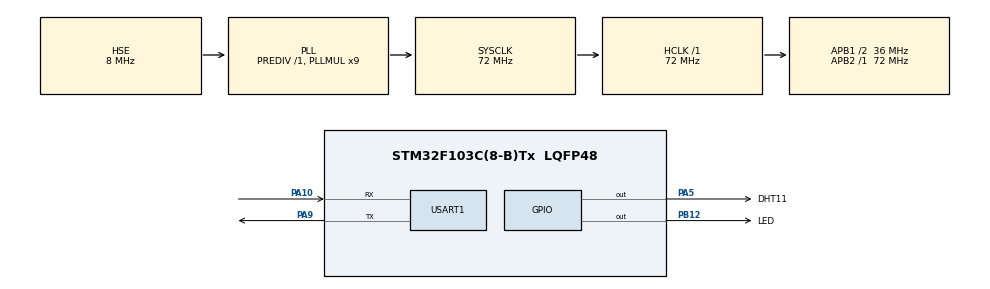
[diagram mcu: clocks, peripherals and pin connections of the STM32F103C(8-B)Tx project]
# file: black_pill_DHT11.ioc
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Mcu.Family=STM32F1
Mcu.Name=STM32F103C(8-B)Tx
Mcu.Package=LQFP48
NVIC.PriorityGroup=NVIC_PRIORITYGROUP_4
PA10.Mode=Asynchronous
PA10.Signal=USART1_RX
PA13.Mode=Serial_Wire
PA13.Signal=SYS_JTMS-SWDIO
PA14.Mode=Serial_Wire
PA14.Signal=SYS_JTCK-SWCLK
PA5.GPIO_Label=DHT11
PA5.Signal=GPIO_Output
PA9.Mode=Asynchronous
PA9.Signal=USART1_TX
PB12.GPIO_Label=LED
PB12.Signal=GPIO_Output
PD0-OSC_IN.Mode=HSE-External-Oscillator
PD0-OSC_IN.Signal=RCC_OSC_IN
PD1-OSC_OUT.Mode=HSE-External-Oscillator
PD1-OSC_OUT.Signal=RCC_OSC_OUT
ProjectManager.HeapSize=0x200
ProjectManager.StackSize=0x400
ProjectManager.TargetToolchain=STM32CubeIDE
RCC.AHBFreq_Value=72000000
RCC.APB1CLKDivider=RCC_HCLK_DIV2
RCC.APB1Freq_Value=36000000
RCC.APB1TimFreq_Value=72000000
RCC.APB2Freq_Value=72000000
RCC.APB2TimFreq_Value=72000000
RCC.HCLKFreq_Value=72000000
RCC.PLLMUL=RCC_PLL_MUL9
RCC.PLLSourceVirtual=RCC_PLLSOURCE_HSE
RCC.SYSCLKFreq_VALUE=72000000
RCC.SYSCLKSource=RCC_SYSCLKSOURCE_PLLCLK
RCC.USBFreq_Value=72000000
TIM4.Period=0xffff-1
TIM4.Prescaler=72-1
USART1.VirtualMode=VM_ASYNC
VP_TIM4_VS_ClockSourceINT.Mode=Internal
board=custom

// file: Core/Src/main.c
/* USER CODE BEGIN Header */
/* USER CODE END Header */

#include "main.h"

/* USER CODE BEGIN Includes */
#include "stdio.h"
/* USER CODE END Includes */

/* USER CODE BEGIN PM */
void Delay_us(uint16_t time_us);								//Delay us using Timer1. (max 65535us)
void Set_Pin_Output(GPIO_TypeDef *GPIOx, uint16_t GPIO_Pin);	// Configure GPIO_OUTPUT
void Set_Pin_Input(GPIO_TypeDef *GPIOx, uint16_t GPIO_Pin);		// Configure GPIO_INPUT
void DHT_Start();												// Send a signal respons DHT11 sensor Start
uint8_t DHT_Check_Response();									// Check Response of DHT. return '1' if availible
uint8_t DHT_Read_Data();
/* USER CODE END PM */

TIM_HandleTypeDef htim4;

UART_HandleTypeDef huart1;

/* USER CODE BEGIN PV */
uint8_t int_RH, dec_RH, int_T, dec_T, Check_Sum, Respones_State;
unsigned short temp1,temp2;
/* USER CODE END PV */

void SystemClock_Config(void);
static void MX_GPIO_Init(void);
static void MX_TIM4_Init(void);
static void MX_USART1_UART_Init(void);

int main(void)
{

  /* MCU Configuration--------------------------------------------------------*/

  /* Reset of all peripherals, Initializes the Flash interface and the Systick. */
  HAL_Init();

  /* Configure the system clock */
  SystemClock_Config();

  /* Initialize all configured peripherals */
  MX_GPIO_Init();
  MX_TIM4_Init();
  MX_USART1_UART_Init();
  /* USER CODE BEGIN 2 */
  HAL_TIM_Base_Start(&htim4);
  /* USER CODE END 2 */

  /* Infinite loop */
  /* USER CODE BEGIN WHILE */
  while(1)
  {
			DHT_Start();
			Respones_State = DHT_Check_Response();
			int_RH = DHT_Read_Data();
			dec_RH = DHT_Read_Data();
			int_T  = DHT_Read_Data();
			dec_T	 = DHT_Read_Data();
			Check_Sum = DHT_Read_Data();
			HAL_GPIO_TogglePin(LED_GPIO_Port, LED_Pin);
			printf("nhiet do: %d\r\n", int_RH);
			printf("Do am: %d\r\n", int_T);
			// char str[]="Color1\r\n";
//			temp1 = (int_T/10)+48;
//			temp2 = (int_T-(temp1-48)*10)+48;
//			HAL_UART_Transmit(&huart1,&temp1,1,1000);
//			HAL_UART_Transmit(&huart1,&temp2,1,1000);
//			char str[]="\r\n"; HAL_UART_Transmit(&huart1,(uint8_t *)&str,sizeof(str),1000);
			HAL_Delay(2000);
    /* USER CODE END WHILE */
  }
}

void SystemClock_Config(void)
{
  RCC_OscInitTypeDef RCC_OscInitStruct = {0};
  RCC_ClkInitTypeDef RCC_ClkInitStruct = {0};

  /** Initializes the CPU, AHB and APB busses clocks
  */
  RCC_OscInitStruct.OscillatorType = RCC_OSCILLATORTYPE_HSE;
  RCC_OscInitStruct.HSEState = RCC_HSE_ON;
  RCC_OscInitStruct.HSEPredivValue = RCC_HSE_PREDIV_DIV1;
  RCC_OscInitStruct.HSIState = RCC_HSI_ON;
  RCC_OscInitStruct.PLL.PLLState = RCC_PLL_ON;
  RCC_OscInitStruct.PLL.PLLSource = RCC_PLLSOURCE_HSE;
  RCC_OscInitStruct.PLL.PLLMUL = RCC_PLL_MUL9;
  if (HAL_RCC_OscConfig(&RCC_OscInitStruct) != HAL_OK)
  {
    Error_Handler();
  }
  /** Initializes the CPU, AHB and APB busses clocks
  */
  RCC_ClkInitStruct.ClockType = RCC_CLOCKTYPE_HCLK|RCC_CLOCKTYPE_SYSCLK
                              |RCC_CLOCKTYPE_PCLK1|RCC_CLOCKTYPE_PCLK2;
  RCC_ClkInitStruct.SYSCLKSource = RCC_SYSCLKSOURCE_PLLCLK;
  RCC_ClkInitStruct.AHBCLKDivider = RCC_SYSCLK_DIV1;
  RCC_ClkInitStruct.APB1CLKDivider = RCC_HCLK_DIV2;
  RCC_ClkInitStruct.APB2CLKDivider = RCC_HCLK_DIV1;

  if (HAL_RCC_ClockConfig(&RCC_ClkInitStruct, FLASH_LATENCY_2) != HAL_OK)
  {
    Error_Handler();
  }
}

static void MX_TIM4_Init(void)
{

  TIM_ClockConfigTypeDef sClockSourceConfig = {0};
  TIM_MasterConfigTypeDef sMasterConfig = {0};

  htim4.Instance = TIM4;
  htim4.Init.Prescaler = 72-1;
  htim4.Init.CounterMode = TIM_COUNTERMODE_UP;
  htim4.Init.Period = 0xffff-1;
  htim4.Init.RepetitionCounter = 0;
  htim4.Init.ClockDivision = TIM_CLOCKDIVISION_DIV1;
  htim4.Init.AutoReloadPreload = TIM_AUTORELOAD_PRELOAD_DISABLE;
  if (HAL_TIM_Base_Init(&htim4) != HAL_OK)
  {
    Error_Handler();
  }
  sClockSourceConfig.ClockSource = TIM_CLOCKSOURCE_INTERNAL;
  if (HAL_TIM_ConfigClockSource(&htim4, &sClockSourceConfig) != HAL_OK)
  {
    Error_Handler();
  }
  sMasterConfig.MasterOutputTrigger = TIM_TRGO_RESET;
  sMasterConfig.MasterSlaveMode = TIM_MASTERSLAVEMODE_DISABLE;
  if (HAL_TIMEx_MasterConfigSynchronization(&htim4, &sMasterConfig) != HAL_OK)
  {
    Error_Handler();
  }

}

static void MX_USART1_UART_Init(void)
{

  huart1.Instance = USART1;
  huart1.Init.BaudRate = 115200;
  huart1.Init.WordLength = UART_WORDLENGTH_8B;
  huart1.Init.StopBits = UART_STOPBITS_1;
  huart1.Init.Parity = UART_PARITY_NONE;
  huart1.Init.Mode = UART_MODE_TX_RX;
  huart1.Init.HwFlowCtl = UART_HWCONTROL_NONE;
  huart1.Init.OverSampling = UART_OVERSAMPLING_16;
  if (HAL_UART_Init(&huart1) != HAL_OK)
  {
    Error_Handler();
  }

}

static void MX_GPIO_Init(void)
{
  GPIO_InitTypeDef GPIO_InitStruct = {0};

  /* GPIO Ports Clock Enable */
  __HAL_RCC_GPIOD_CLK_ENABLE();
  __HAL_RCC_GPIOA_CLK_ENABLE();
  __HAL_RCC_GPIOB_CLK_ENABLE();

  /*Configure GPIO pin Output Level */
  HAL_GPIO_WritePin(DHT11_GPIO_Port, DHT11_Pin, GPIO_PIN_RESET);

  /*Configure GPIO pin Output Level */
  HAL_GPIO_WritePin(LED_GPIO_Port, LED_Pin, GPIO_PIN_RESET);

  /*Configure GPIO pin : DHT11_Pin */
  GPIO_InitStruct.Pin = DHT11_Pin;
  GPIO_InitStruct.Mode = GPIO_MODE_OUTPUT_PP;
  GPIO_InitStruct.Pull = GPIO_NOPULL;
  GPIO_InitStruct.Speed = GPIO_SPEED_FREQ_LOW;
  HAL_GPIO_Init(DHT11_GPIO_Port, &GPIO_InitStruct);

  /*Configure GPIO pin : LED_Pin */
  GPIO_InitStruct.Pin = LED_Pin;
  GPIO_InitStruct.Mode = GPIO_MODE_OUTPUT_PP;
  GPIO_InitStruct.Pull = GPIO_NOPULL;
  GPIO_InitStruct.Speed = GPIO_SPEED_FREQ_LOW;
  HAL_GPIO_Init(LED_GPIO_Port, &GPIO_InitStruct);

}

/* USER CODE BEGIN 4 */
void Delay_us(uint16_t time_us)
{
	__HAL_TIM_SET_COUNTER(&htim4, 0);
	while(__HAL_TIM_GET_COUNTER(&htim4) <= time_us)
	{

	}
}

void Set_Pin_Output(GPIO_TypeDef *GPIOx, uint16_t GPIO_Pin)
{
	GPIO_InitTypeDef GPIO_InitStruct = {0};

	GPIO_InitStruct.Pin = GPIO_Pin;
	GPIO_InitStruct.Mode = GPIO_MODE_OUTPUT_PP;
	GPIO_InitStruct.Pull = GPIO_NOPULL;
	GPIO_InitStruct.Speed = GPIO_SPEED_FREQ_LOW;
	HAL_GPIO_Init(GPIOx, &GPIO_InitStruct);
}

void Set_Pin_Input(GPIO_TypeDef *GPIOx, uint16_t GPIO_Pin)
{
	GPIO_InitTypeDef GPIO_InitStruct = {0};

	GPIO_InitStruct.Pin = GPIO_Pin;
	GPIO_InitStruct.Mode = GPIO_MODE_INPUT;
	GPIO_InitStruct.Pull = GPIO_NOPULL;
	HAL_GPIO_Init(GPIOx, &GPIO_InitStruct);
}

void DHT_Start()
{
	Set_Pin_Output(DHT11_GPIO_Port, DHT11_Pin);

	HAL_GPIO_WritePin(DHT11_GPIO_Port, DHT11_Pin, GPIO_PIN_RESET);
	Delay_us(18000);	// delay 18ms

	Set_Pin_Input(DHT11_GPIO_Port, DHT11_Pin);

}

uint8_t DHT_Check_Response()
{
	uint8_t response=0;
	// wait for 40 us because length's signal is LOW 80us
	Delay_us(40);
	if(!HAL_GPIO_ReadPin(DHT11_GPIO_Port, DHT11_Pin))       // if LOW is ok
	{
		// wait for 40 us because length's signal is LOW 80us
		Delay_us(80);
		if(HAL_GPIO_ReadPin(DHT11_GPIO_Port, DHT11_Pin))
		{
			response =1;
		}
	}
	// waint Data_Pin pull LOW
	while(HAL_GPIO_ReadPin(DHT11_GPIO_Port, DHT11_Pin))
	{

	}
	return response;
}

uint8_t DHT_Read_Data()
{
	uint8_t data=0x00;
	for(int i=0; i<8; i++)
	{
		// wait Data_Pin Set LOW
		while(!HAL_GPIO_ReadPin(DHT11_GPIO_Port, DHT11_Pin))
		{

		}
		Delay_us(40); // wait 40us between 28us and 70 us
		// if bit == 1
		if(HAL_GPIO_ReadPin(DHT11_GPIO_Port, DHT11_Pin))
		{
			data |= (1<<(7-i));
		}
		else
		{

		}
		while ((HAL_GPIO_ReadPin (DHT11_GPIO_Port, DHT11_Pin)));  // wait for the pin to go low
	}
	return data;
}
#ifdef __GNUC__
 /* With GCC/RAISONANCE, small printf (option LD Linker->Libraries->Small printf
 set to 'Yes') calls __io_putchar() */
 #define PUTCHAR_PROTOTYPE int __io_putchar(int ch)
#else
 #define PUTCHAR_PROTOTYPE int fputc(int ch, FILE *f)
#endif /* __GNUC__ */

/**
 * @brief Retargets the C library printf function to the USART.
 * @param None
 * @retval None
 */
PUTCHAR_PROTOTYPE
{
 /* Place your implementation of fputc here */
 /* e.g. write a character to the USART */
 HAL_UART_Transmit(&huart1, (uint8_t *)&ch, 1, 100);
 return ch;
}
/* USER CODE END 4 */

void Error_Handler(void)
{
}

/************************ (C) COPYRIGHT STMicroelectronics *****END OF FILE****/
